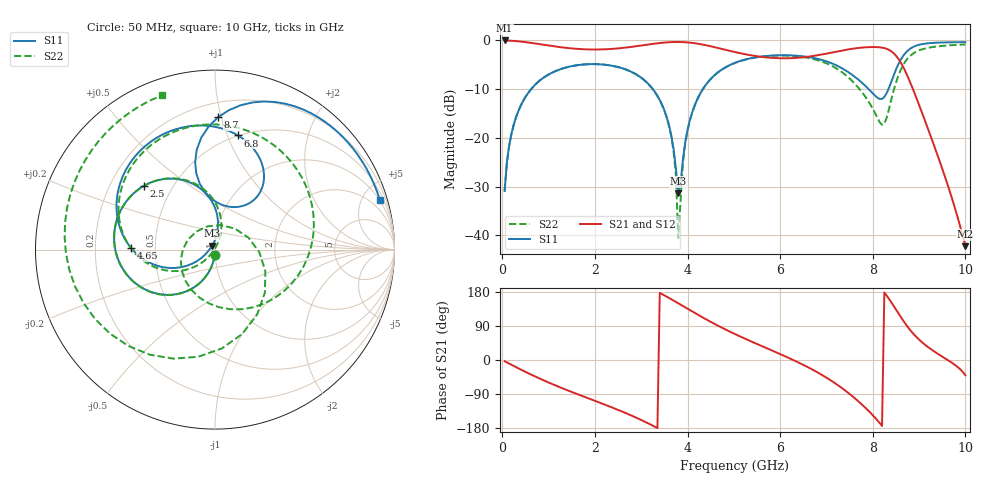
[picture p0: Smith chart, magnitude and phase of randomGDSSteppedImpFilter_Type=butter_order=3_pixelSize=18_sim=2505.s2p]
! freq	dB(S11)	phase(S11)	dB(S12)	phase(S12)
!  dB(S21)	phase(S21)	dB(S22)	phase(S22)
!S-par simulation data
#  GHz  S  DB  R 50
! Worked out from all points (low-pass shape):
!   200 points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, 50 MHz to 10 GHz, reference 50 ohm
!   highest |S21| = -0.01 dB at 50 MHz (marker M1); lowest = -42.2 dB at 10 GHz (marker M2)
!   |S21| within 3 dB of the highest: start of sweep to 5.342 GHz; 6.831 GHz to 8.489 GHz (1.658 GHz wide, 21.6 % of centre)
!   lowest |S11| = -31.4 dB at 3.8 GHz (marker M3), VSWR 1.06, Z = 48.3 + j2.05 ohm
!   |S11| at or under -10 dB: start of sweep to 623.3 MHz; 3.252 GHz to 4.331 GHz (1.08 GHz wide, 28.5 % of centre); 7.911 GHz to 8.338 GHz (426.6 MHz wide, 5.25 % of centre)
!   |S22| runs from -40.6 to -0.8 dB; largest |S21 - S12| = 0
!   S11 on the Smith chart (normalised r, x): 50 MHz: 1.00, -0.06; 2.5 GHz: 0.34, +0.34; 4.65 GHz: 0.36, +0.01; 6.8 GHz: 0.50, +1.09; 8.7 GHz: 0.30, +0.98; 10 GHz: 0.96, +6.66
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0.05  -30.91 -93.4  -0.01 -3.2  -0.01 -3.2  -30.91 -93.4
0.2  -19.07 -103.3  -0.07 -12.8  -0.07 -12.8  -19.07 -103.2
0.5  -11.62 -121.9  -0.35 -31.3  -0.35 -31.3  -11.62 -121.7
1.75  -4.95 173.3  -1.81 -96.1  -1.81 -96.1  -4.95 173.6
2.5  -5.47 138.3  -1.64 -131.6  -1.64 -131.6  -5.48 138.3
3.4  -12.22 91.2  -0.54 177.2  -0.54 177.2  -12.28 87.3
3.7  -22.34 84.6  -0.33 156.7  -0.33 156.7  -22.89 68.4
3.8  -31.35 128.3  -0.32 149.7  -0.32 149.7  -40.58 77.9
3.9  -24.44 -153.6  -0.35 142.5  -0.35 142.5  -25.19 -131.0
4.05  -16.37 -148.4  -0.46 131.8  -0.46 131.8  -16.46 -140.0
4.65  -6.60 178.9  -1.53 91.0  -1.53 91.0  -6.62 179.3
5.05  -4.50 157.1  -2.44 66.9  -2.44 66.9  -4.52 154.6
6  -3.04 112.7  -3.66 15.6  -3.66 15.6  -3.11 98.6
6.7  -3.56 82.8  -3.21 -25.5  -3.21 -25.5  -3.79 48.3
6.8  -3.76 78.7  -3.06 -32.2  -3.06 -32.2  -4.04 39.4
7.25  -5.28 61.3  -2.23 -66.7  -2.23 -66.7  -5.95 -10.2
7.7  -8.14 51.6  -1.54 -110.2  -1.54 -110.2  -9.83 -85.7
8.05  -11.35 61.5  -1.36 -152.3  -1.36 -152.3  -14.94 179.6
8.35  -9.73 100.0  -1.94 161.2  -1.94 161.2  -14.08 19.8
8.7  -2.64 88.6  -6.27 96.3  -6.27 96.3  -4.37 -99.0
9.15  -0.63 54.8  -17.05 38.1  -17.05 38.1  -1.61 -178.6
10  -0.36 16.7  -42.22 -40.2  -42.22 -40.2  -0.83 109.1
